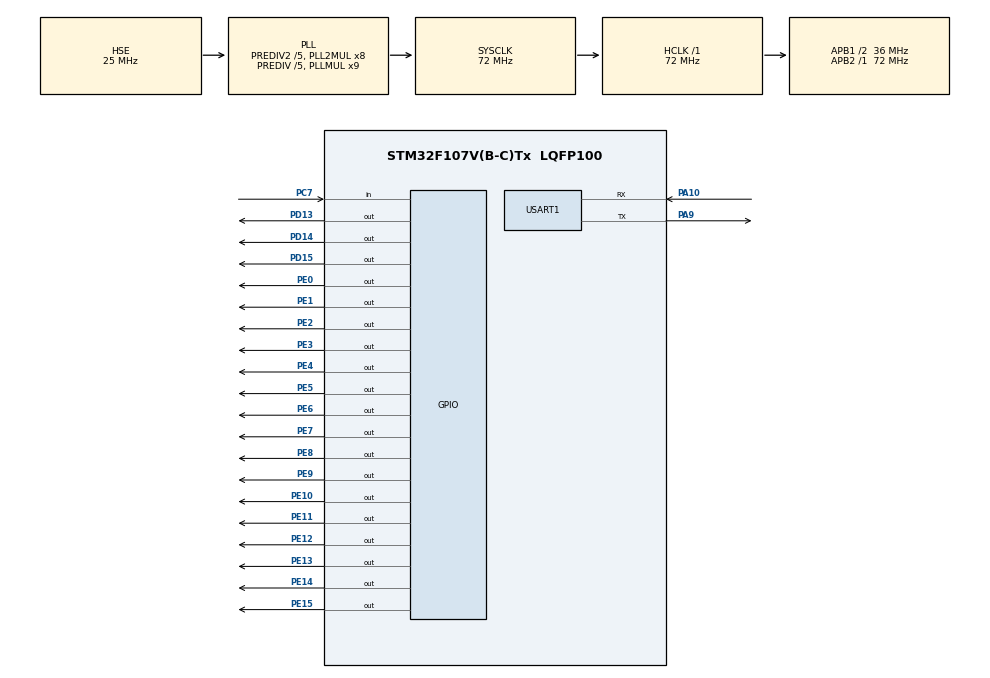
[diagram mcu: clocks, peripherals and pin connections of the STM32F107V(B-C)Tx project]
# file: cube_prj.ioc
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Dma.Request0=USART1_RX
Dma.Request1=USART1_TX
Dma.USART1_RX.0.Direction=DMA_PERIPH_TO_MEMORY
Dma.USART1_RX.0.Instance=DMA1_Channel5
Dma.USART1_RX.0.MemDataAlignment=DMA_MDATAALIGN_BYTE
Dma.USART1_RX.0.MemInc=DMA_MINC_DISABLE
Dma.USART1_RX.0.Mode=DMA_CIRCULAR
Dma.USART1_RX.0.PeriphDataAlignment=DMA_PDATAALIGN_BYTE
Dma.USART1_RX.0.PeriphInc=DMA_PINC_DISABLE
Dma.USART1_RX.0.Priority=DMA_PRIORITY_LOW
Dma.USART1_TX.1.Direction=DMA_MEMORY_TO_PERIPH
Dma.USART1_TX.1.Instance=DMA1_Channel4
Dma.USART1_TX.1.MemDataAlignment=DMA_MDATAALIGN_BYTE
Dma.USART1_TX.1.MemInc=DMA_MINC_ENABLE
Dma.USART1_TX.1.Mode=DMA_NORMAL
Dma.USART1_TX.1.PeriphDataAlignment=DMA_PDATAALIGN_BYTE
Dma.USART1_TX.1.PeriphInc=DMA_PINC_DISABLE
Dma.USART1_TX.1.Priority=DMA_PRIORITY_LOW
Mcu.Family=STM32F1
Mcu.Name=STM32F107V(B-C)Tx
Mcu.Package=LQFP100
NVIC.DMA1_Channel4_IRQn=true\:0\:0\:false\:false\:true
NVIC.DMA1_Channel5_IRQn=true\:2\:0\:true\:false\:true
NVIC.PriorityGroup=NVIC_PRIORITYGROUP_2
NVIC.TIM7_IRQn=true\:0\:3\:false\:false\:true
NVIC.USART1_IRQn=true\:0\:0\:false\:false\:true
OSC_IN.Mode=HSE-External-Oscillator
OSC_IN.Signal=RCC_OSC_IN
OSC_OUT.Mode=HSE-External-Oscillator
OSC_OUT.Signal=RCC_OSC_OUT
PA10.Mode=Asynchronous
PA10.Signal=USART1_RX
PA13.Mode=Serial_Wire
PA13.Signal=SYS_JTMS-SWDIO
PA14.Mode=Serial_Wire
PA14.Signal=SYS_JTCK-SWCLK
PA9.Mode=Asynchronous
PA9.Signal=USART1_TX
PC14-OSC32_IN.Mode=LSE-External-Oscillator
PC14-OSC32_IN.Signal=RCC_OSC32_IN
PC15-OSC32_OUT.Mode=LSE-External-Oscillator
PC15-OSC32_OUT.Signal=RCC_OSC32_OUT
PC7.Signal=GPIO_Input
PD13.Signal=GPIO_Output
PD14.Signal=GPIO_Output
PD15.Signal=GPIO_Output
PE0.GPIO_Speed=GPIO_SPEED_HIGH
PE0.Signal=GPIO_Output
PE1.GPIO_Speed=GPIO_SPEED_HIGH
PE1.Signal=GPIO_Output
PE10.GPIO_Speed=GPIO_SPEED_HIGH
PE10.Signal=GPIO_Output
PE11.GPIO_Speed=GPIO_SPEED_HIGH
PE11.Signal=GPIO_Output
PE12.GPIO_Speed=GPIO_SPEED_HIGH
PE12.Signal=GPIO_Output
PE13.GPIO_Speed=GPIO_SPEED_HIGH
PE13.Signal=GPIO_Output
PE14.GPIO_Speed=GPIO_SPEED_HIGH
PE14.Signal=GPIO_Output
PE15.GPIO_Speed=GPIO_SPEED_HIGH
PE15.Signal=GPIO_Output
PE2.GPIO_Speed=GPIO_SPEED_HIGH
PE2.Signal=GPIO_Output
PE3.GPIO_Speed=GPIO_SPEED_HIGH
PE3.Signal=GPIO_Output
PE4.GPIO_Speed=GPIO_SPEED_HIGH
PE4.Signal=GPIO_Output
PE5.GPIO_Speed=GPIO_SPEED_HIGH
PE5.Signal=GPIO_Output
PE6.GPIO_Speed=GPIO_SPEED_HIGH
PE6.Signal=GPIO_Output
PE7.GPIO_Speed=GPIO_SPEED_HIGH
PE7.Signal=GPIO_Output
PE8.GPIO_Speed=GPIO_SPEED_HIGH
PE8.Signal=GPIO_Output
PE9.GPIO_Speed=GPIO_SPEED_HIGH
PE9.Signal=GPIO_Output
ProjectManager.HeapSize=0x400
ProjectManager.StackSize=0x200
ProjectManager.TargetToolchain=MDK-ARM V5
RCC.AHBFreq_Value=72000000
RCC.APB1CLKDivider=RCC_HCLK_DIV2
RCC.APB1Freq_Value=36000000
RCC.APB1TimFreq_Value=72000000
RCC.APB2Freq_Value=72000000
RCC.APB2TimFreq_Value=72000000
RCC.HCLKFreq_Value=72000000
RCC.HSEDivPLL=RCC_HSE_PREDIV_DIV5
RCC.HSE_VALUE=25000000
RCC.HSIState=RCC_HSI_ON
RCC.PLLMUL=RCC_PLL_MUL9
RCC.PLLSourceVirtual=RCC_PLLSOURCE_HSE
RCC.Prediv1Source=RCC_PREDIV1_SOURCE_PLL2
RCC.Prediv2=RCC_HSE_PREDIV2_DIV5
RCC.SYSCLKFreq_VALUE=72000000
RCC.SYSCLKSource=RCC_SYSCLKSOURCE_PLLCLK
RCC.USBFreq_Value=48000000
TIM7.Period=35
TIM7.Prescaler=4199
TIM7.TIM_MasterOutputTrigger=TIM_TRGO_UPDATE
VP_CRC_VS_CRC.Mode=CRC_Activate
VP_TIM7_VS_ClockSourceINT.Mode=Enable_Timer
board=cube_prj

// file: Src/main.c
/**
  ******************************************************************************
  * File Name          : main.c
  * Description        : Main program body
  ******************************************************************************
  *
  * COPYRIGHT(c) 2016 STMicroelectronics
  *
  * Redistribution and use in source and binary forms, with or without modification,
  * are permitted provided that the following conditions are met:
  *   1. Redistributions of source code must retain the above copyright notice,
  *      this list of conditions and the following disclaimer.
  *   2. Redistributions in binary form must reproduce the above copyright notice,
  *      this list of conditions and the following disclaimer in the documentation
  *      and/or other materials provided with the distribution.
  *   3. Neither the name of STMicroelectronics nor the names of its contributors
  *      may be used to endorse or promote products derived from this software
  *      without specific prior written permission.
  *
  * THIS SOFTWARE IS PROVIDED BY THE COPYRIGHT HOLDERS AND CONTRIBUTORS "AS IS"
  * AND ANY EXPRESS OR IMPLIED WARRANTIES, INCLUDING, BUT NOT LIMITED TO, THE
  * IMPLIED WARRANTIES OF MERCHANTABILITY AND FITNESS FOR A PARTICULAR PURPOSE ARE
  * DISCLAIMED. IN NO EVENT SHALL THE COPYRIGHT HOLDER OR CONTRIBUTORS BE LIABLE
  * FOR ANY DIRECT, INDIRECT, INCIDENTAL, SPECIAL, EXEMPLARY, OR CONSEQUENTIAL
  * DAMAGES (INCLUDING, BUT NOT LIMITED TO, PROCUREMENT OF SUBSTITUTE GOODS OR
  * SERVICES; LOSS OF USE, DATA, OR PROFITS; OR BUSINESS INTERRUPTION) HOWEVER
  * CAUSED AND ON ANY THEORY OF LIABILITY, WHETHER IN CONTRACT, STRICT LIABILITY,
  * OR TORT (INCLUDING NEGLIGENCE OR OTHERWISE) ARISING IN ANY WAY OUT OF THE USE
  * OF THIS SOFTWARE, EVEN IF ADVISED OF THE POSSIBILITY OF SUCH DAMAGE.
  *
  ******************************************************************************
  */
#include "stm32f1xx_hal.h"
#include "crc.h"
#include "dma.h"
#include "tim.h"
#include "usart.h"
#include "gpio.h"

/* USER CODE BEGIN Includes */
#include "delay.h"
#include "led.h"
//#include "key.h"
//#include "app_led.h"
//#include "exti_dup.h"
//#include "tim_dup.h"
#include "uart_dup.h"
#include "lcd_ssd1289.h"
#include "gui.h"            /**< STemwin */
#include "mb.h"             /**< Freemodbus */

/* USER CODE END Includes */

/* USER CODE BEGIN PV */
/* Private variables ---------------------------------------------------------*/

//static __IO uint16_t uart_buff[UART_BUFF_SIZE];
/* USER CODE END PV */

void SystemClock_Config(void);

/* USER CODE BEGIN PFP */
/* Private function prototypes -----------------------------------------------*/

/* USER CODE END PFP */

/* USER CODE BEGIN 0 */
extern GUI_CONST_STORAGE GUI_FONT GUI_FontYaHei28;
//extern DMA_HandleTypeDef hdma_usart1_tx;
/* USER CODE END 0 */

int main(void)
{

  /* USER CODE BEGIN 1 */
//    uint16_t i = 0;
//    eMBErrorCode    eStatus;
  /* USER CODE END 1 */

  /* MCU Configuration----------------------------------------------------------*/

  /* Reset of all peripherals, Initializes the Flash interface and the Systick. */
  HAL_Init();

  /* Configure the system clock */
  SystemClock_Config();

  /* Initialize all configured peripherals */
  MX_GPIO_Init();
  MX_DMA_Init();
  MX_CRC_Init();
  MX_USART1_UART_Init();
  MX_TIM7_Init();

  /* USER CODE BEGIN 2 */

    GUI_Init();
    GUI_UC_SetEncodeUTF8();

    GUI_SetBkColor(GUI_BLACK);
    GUI_SetColor(GUI_GREEN);

    GUI_SetFont(&GUI_Font32B_ASCII);
    GUI_DispStringAt("Display HanZi", 60, 50);

    GUI_SetFont(&GUI_FontYaHei28);
    GUI_DispStringAt("南京工业大学", 80, 100);

    /*模式	 从机地址 端口 波特率 校验位*/
    eMBInit(MB_RTU, 0x01, 0, 115200, MB_PAR_NONE);
    eMBEnable(  );
  /* USER CODE END 2 */

  /* Infinite loop */
  while (1)
  {

  /* USER CODE BEGIN 3 */

     ( void )eMBPoll(  );
//           usRegInputBuf[0]++;
  }
  /* USER CODE END 3 */

}

/** System Clock Configuration
*/
void SystemClock_Config(void)
{

  RCC_OscInitTypeDef RCC_OscInitStruct;
  RCC_ClkInitTypeDef RCC_ClkInitStruct;

  RCC_OscInitStruct.OscillatorType = RCC_OSCILLATORTYPE_HSE;
  RCC_OscInitStruct.HSEState = RCC_HSE_ON;
  RCC_OscInitStruct.HSEPredivValue = RCC_HSE_PREDIV_DIV5;
  RCC_OscInitStruct.Prediv1Source = RCC_PREDIV1_SOURCE_PLL2;
  RCC_OscInitStruct.PLL.PLLState = RCC_PLL_ON;
  RCC_OscInitStruct.PLL.PLLSource = RCC_PLLSOURCE_HSE;
  RCC_OscInitStruct.PLL.PLLMUL = RCC_PLL_MUL9;
  RCC_OscInitStruct.PLL2.PLL2State = RCC_PLL2_ON;
  RCC_OscInitStruct.PLL2.PLL2MUL = RCC_PLL2_MUL8;
  RCC_OscInitStruct.PLL2.HSEPrediv2Value = RCC_HSE_PREDIV2_DIV5;
  HAL_RCC_OscConfig(&RCC_OscInitStruct);

  RCC_ClkInitStruct.ClockType = RCC_CLOCKTYPE_HCLK|RCC_CLOCKTYPE_SYSCLK
                              |RCC_CLOCKTYPE_PCLK1|RCC_CLOCKTYPE_PCLK2;
  RCC_ClkInitStruct.SYSCLKSource = RCC_SYSCLKSOURCE_PLLCLK;
  RCC_ClkInitStruct.AHBCLKDivider = RCC_SYSCLK_DIV1;
  RCC_ClkInitStruct.APB1CLKDivider = RCC_HCLK_DIV2;
  RCC_ClkInitStruct.APB2CLKDivider = RCC_HCLK_DIV1;
  HAL_RCC_ClockConfig(&RCC_ClkInitStruct, FLASH_LATENCY_2);

  HAL_SYSTICK_Config(HAL_RCC_GetHCLKFreq()/1000);

  HAL_SYSTICK_CLKSourceConfig(SYSTICK_CLKSOURCE_HCLK);

  __HAL_RCC_PLLI2S_ENABLE();

  /* SysTick_IRQn interrupt configuration */
  HAL_NVIC_SetPriority(SysTick_IRQn, 0, 0);
}

/************************ (C) COPYRIGHT STMicroelectronics *****END OF FILE****/
